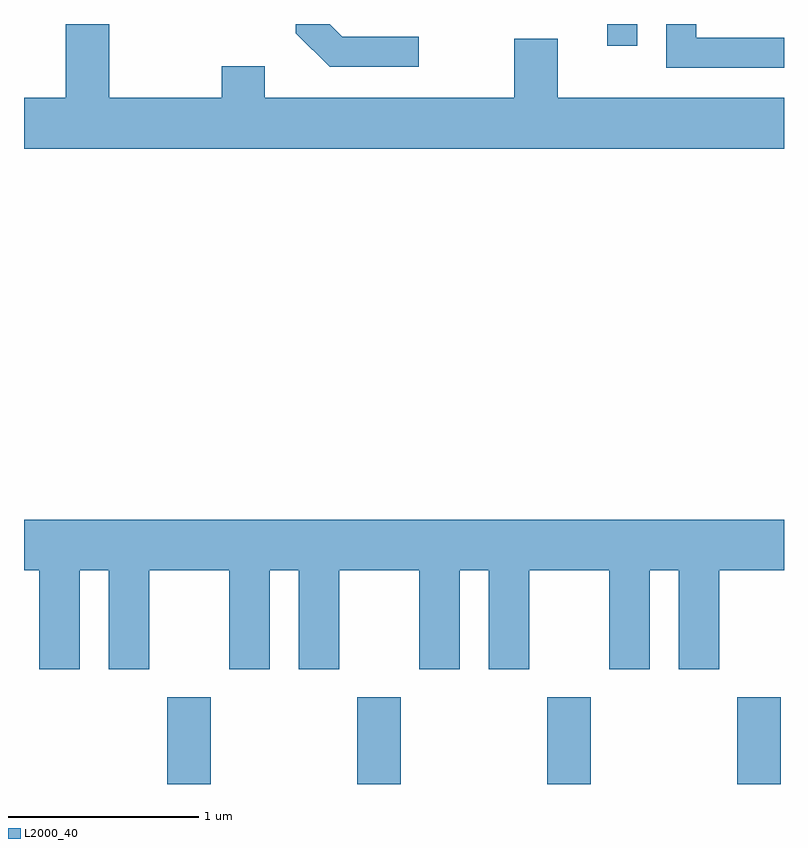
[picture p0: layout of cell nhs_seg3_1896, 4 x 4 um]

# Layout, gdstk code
import gdstk
lib = gdstk.Library(unit=1e-6, precision=1e-09)
def R(c, l, rs):  # rectangles x0, y0, x1, y1
    for r in rs: c.add(gdstk.rectangle(r[:2], r[2:], *l))
def A(c, l, x, y, w, h, nx, ny, dx, dy):  # array of equal rectangles
    R(c, l, [(x+i*dx, y+j*dy, x+i*dx+w, y+j*dy+h) for i in range(nx) for j in range(ny)])
def P(c, l, *ps):  # polygons
    for p in ps: c.add(gdstk.Polygon(p, *l))
L2000_40 = (2000, 40)

nhs_seg3_1896 = lib.new_cell('nhs_seg3_1896')
A(nhs_seg3_1896, L2000_40, 240.366, 1235.892, 0.228, 0.457, 4, 1, 1, 0)
R(nhs_seg3_1896, L2000_40, [(242.681,1239.778,242.839,1239.892)])
P(nhs_seg3_1896, L2000_40, [(243.611,1239.504),(242.419,1239.504),(242.419,1239.814),(242.191,1239.814),(242.191,1239.504),(240.879,1239.504),(240.879,1239.669),(240.651,1239.669),(240.651,1239.504),(240.059,1239.504),(240.059,1239.892),(239.831,1239.892),(239.831,1239.504),(239.611,1239.504),(239.611,1239.236),(243.611,1239.236)],
  [(241.688,1239.824),(241.287,1239.824),(241.219,1239.892),(241.041,1239.892),(241.041,1239.844),(241.219,1239.666),(241.688,1239.666)],
  [(243.611,1239.819),(243.149,1239.819),(243.149,1239.892),(242.991,1239.892),(242.991,1239.661),(243.611,1239.661)],
  [(239.904,1237.016),(240.056,1237.016),(240.056,1236.496),(240.269,1236.496),(240.269,1237.016),(240.691,1237.016),(240.691,1236.496),(240.904,1236.496),(240.904,1237.016),(241.056,1237.016),(241.056,1236.496),(241.269,1236.496),(241.269,1237.016),(241.691,1237.016),(241.691,1236.496),(241.904,1236.496),(241.904,1237.016),(242.056,1237.016),(242.056,1236.496),(242.269,1236.496),(242.269,1237.016),(242.691,1237.016),(242.691,1236.496),(242.904,1236.496),(242.904,1237.016),(243.056,1237.016),(243.056,1236.496),(243.269,1236.496),(243.269,1237.016),(243.611,1237.016),(243.611,1237.284),(239.611,1237.284),(239.611,1237.016),(239.691,1237.016),(239.691,1236.496),(239.904,1236.496)])

lib.write_gds('nhs_seg3_1896.gds')
